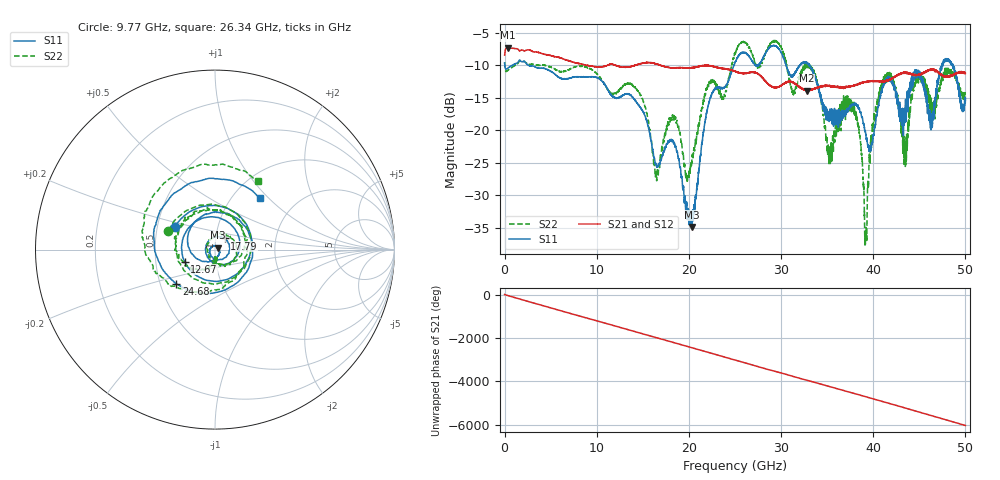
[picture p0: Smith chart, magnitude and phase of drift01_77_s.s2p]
!Created with skrf (http://scikit-rf.org).
# Hz S RI R 50.0
!freq ReS11 ImS11 ReS21 ImS21 ReS12 ImS12 ReS22 ImS22
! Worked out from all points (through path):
!   10001 points, 300 kHz to 50 GHz, reference 50 ohm
!   highest |S21| = -7.33 dB at 315.3 MHz (marker M1); lowest = -14.0 dB at 32.77 GHz (marker M2)
!   group delay of S21, straight-line fit = 335 ps
!   lowest |S11| = -34.9 dB at 20.33 GHz (marker M3), VSWR 1.04, Z = 51.5 + j1.04 ohm
!   |S11| at or under -10 dB: 2.567 GHz to 24.9 GHz (22.33 GHz wide, 163 % of centre); 30.54 GHz to 32.06 GHz (1.526 GHz wide, 4.88 % of centre); 33.11 GHz to 47.44 GHz (14.33 GHz wide, 35.6 % of centre) (the widest 3 of 22)
!   |S22| runs from -37.8 to -6.2 dB; largest |S21 - S12| = 0.011
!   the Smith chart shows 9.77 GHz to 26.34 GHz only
!   S11 on the Smith chart (normalised r, x): 9.77 GHz: 0.62, +0.17; 12.67 GHz: 0.71, -0.10; 17.79 GHz: 1.11, +0.14; 24.68 GHz: 0.61, -0.25; 26.34 GHz: 1.33, +0.89
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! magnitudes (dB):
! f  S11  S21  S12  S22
! 300 kHz  -9.7  -8.5  -8.5  -9.6
! 315.3 MHz  -10.5  -7.3  -7.3  -10.9
! 8.335 GHz  -11.8  -9.8  -9.8  -10.2
! 9.77 GHz  -11.8  -10.2  -10.2  -11.0
! 12.67 GHz  -14.8  -10.3  -10.3  -13.4
! 16.67 GHz  -25.6  -9.9  -9.9  -26.8
! 17.79 GHz  -21.6  -10.4  -10.4  -19.3
! 20.33 GHz  -34.9  -10.4  -10.4  -24.6
! 22.22 GHz  -15.6  -10.1  -10.1  -12.5
! 24.68 GHz  -10.8  -10.8  -10.8  -9.8
! 25 GHz  -9.6  -11.0  -11.0  -8.2
! 26.34 GHz  -8.4  -11.2  -11.2  -6.9
! 32.77 GHz  -9.8  -14.0  -13.9  -10.0
! 33.34 GHz  -10.7  -13.8  -13.8  -10.6
! 35.27 GHz  -17.8  -13.2  -13.2  -23.2
! 37.97 GHz  -15.9  -13.1  -13.1  -17.2
! 39.21 GHz  -20.9  -12.6  -12.6  -36.3
! 40.1 GHz  -20.4  -12.5  -12.5  -17.8
! 41.67 GHz  -11.7  -12.3  -12.3  -11.8
! 43.45 GHz  -17.8  -11.2  -11.2  -23.2
! 44.88 GHz  -11.1  -11.5  -11.5  -12.4
! 50 GHz  -15.4  -11.3  -11.3  -14.9
